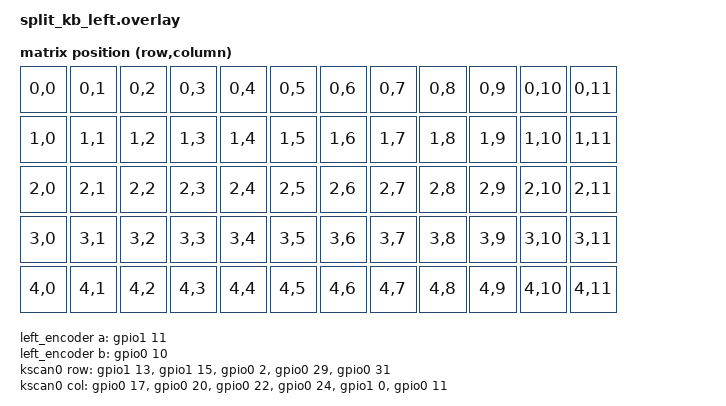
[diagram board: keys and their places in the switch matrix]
/*
 * Split KB — Left Half (Central)
 *
 * Pin assignments verified from schematic (U1 nice_nano):
 *
 *   COL0 → P0.17  (gpio0 17)  pin 5
 *   COL1 → P0.20  (gpio0 20)  pin 6
 *   COL2 → P0.22  (gpio0 22)  pin 7
 *   COL3 → P0.24  (gpio0 24)  pin 8
 *   COL4 → P1.00  (gpio1  0)  pin 9
 *   COL5 → P0.11  (gpio0 11)  pin 10
 *
 *   ROW0 → P1.13  (gpio1 13)  pin 21
 *   ROW1 → P1.15  (gpio1 15)  pin 20
 *   ROW2 → P0.02  (gpio0  2)  pin 19
 *   ROW3 → P0.29  (gpio0 29)  pin 18
 *   ROW4 → P0.31  (gpio0 31)  pin 17
 *
 *   Encoder A → P1.11  (gpio1 11)  pin 22
 *   Encoder B → P0.10  (gpio0 10)  pin 23
 */

#include <dt-bindings/zmk/matrix_transform.h>

/ {
    chosen {
        zmk,kscan = &kscan0;
        zmk,matrix_transform = &default_transform;
    };

    default_transform: keymap_transform_0 {
        compatible = "zmk,matrix-transform";
        columns = <12>;
        rows = <5>;
        map = <
/* Left cols 0-5                                    Right cols 6-11 */
RC(0,0)  RC(0,1)  RC(0,2)  RC(0,3)  RC(0,4)  RC(0,5)    RC(0,6)  RC(0,7)  RC(0,8)  RC(0,9)  RC(0,10) RC(0,11)
RC(1,0)  RC(1,1)  RC(1,2)  RC(1,3)  RC(1,4)  RC(1,5)    RC(1,6)  RC(1,7)  RC(1,8)  RC(1,9)  RC(1,10) RC(1,11)
RC(2,0)  RC(2,1)  RC(2,2)  RC(2,3)  RC(2,4)  RC(2,5)    RC(2,6)  RC(2,7)  RC(2,8)  RC(2,9)  RC(2,10) RC(2,11)
RC(3,0)  RC(3,1)  RC(3,2)  RC(3,3)  RC(3,4)  RC(3,5)    RC(3,6)  RC(3,7)  RC(3,8)  RC(3,9)  RC(3,10) RC(3,11)
RC(4,0)  RC(4,1)  RC(4,2)  RC(4,3)  RC(4,4)  RC(4,5)    RC(4,6)  RC(4,7)  RC(4,8)  RC(4,9)  RC(4,10) RC(4,11)
        >;
    };

    left_encoder: encoder_left {
        compatible = "alps,ec11";
        label = "LEFT_ENCODER";
        a-gpios = <&gpio1 11 (GPIO_ACTIVE_HIGH | GPIO_PULL_UP)>;
        b-gpios = <&gpio0 10 (GPIO_ACTIVE_HIGH | GPIO_PULL_UP)>;
        resolution = <4>;
        status = "okay";
    };

    sensors: sensors {
        compatible = "zmk,keymap-sensors";
        sensors = <&left_encoder>;
        triggers-per-rotation = <20>;
    };

    kscan0: kscan {
        compatible = "zmk,kscan-gpio-matrix";
        label = "KSCAN";
        diode-direction = "col2row";

        col-gpios
            = <&gpio0 17 GPIO_ACTIVE_HIGH>
            , <&gpio0 20 GPIO_ACTIVE_HIGH>
            , <&gpio0 22 GPIO_ACTIVE_HIGH>
            , <&gpio0 24 GPIO_ACTIVE_HIGH>
            , <&gpio1  0 GPIO_ACTIVE_HIGH>
            , <&gpio0 11 GPIO_ACTIVE_HIGH>
            ;

        row-gpios
            = <&gpio1 13 (GPIO_ACTIVE_HIGH | GPIO_PULL_DOWN)>
            , <&gpio1 15 (GPIO_ACTIVE_HIGH | GPIO_PULL_DOWN)>
            , <&gpio0  2 (GPIO_ACTIVE_HIGH | GPIO_PULL_DOWN)>
            , <&gpio0 29 (GPIO_ACTIVE_HIGH | GPIO_PULL_DOWN)>
            , <&gpio0 31 (GPIO_ACTIVE_HIGH | GPIO_PULL_DOWN)>
            ;
    };
};
